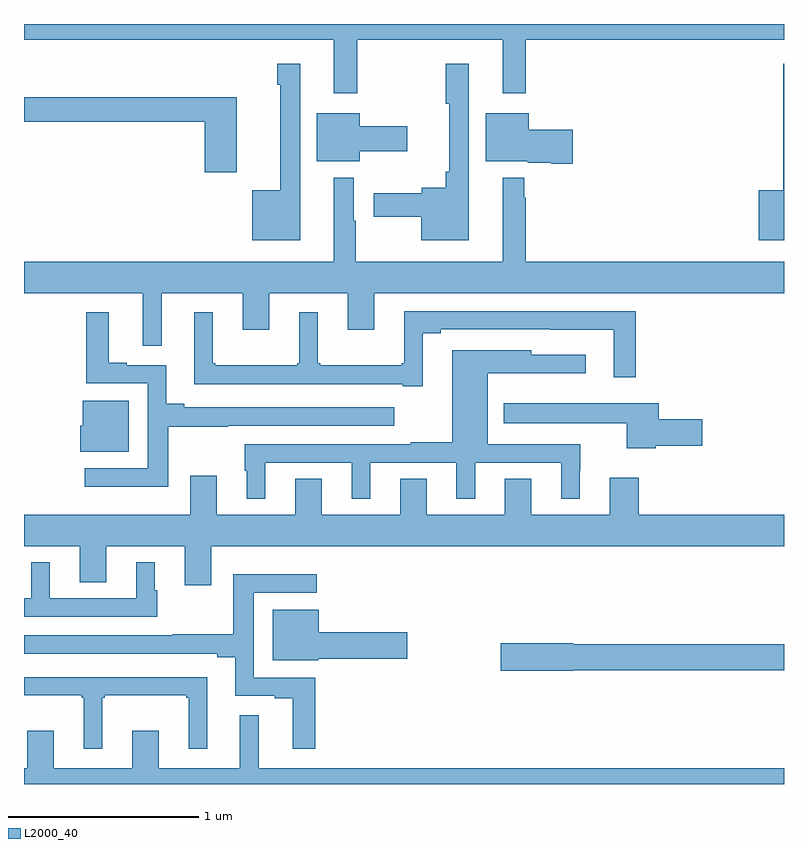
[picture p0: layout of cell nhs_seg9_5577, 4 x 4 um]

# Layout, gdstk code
import gdstk
lib = gdstk.Library(unit=1e-6, precision=1e-09)
def P(c, l, *ps):  # polygons
    for p in ps: c.add(gdstk.Polygon(p, *l))
L2000_40 = (2000, 40)

nhs_seg9_5577 = lib.new_cell('nhs_seg9_5577')
P(nhs_seg9_5577, L2000_40, [(436.753,1200.416),(437.519,1200.416),(437.519,1200.135),(437.641,1200.135),(437.641,1200.416),(439,1200.416),(439,1200.5),(435,1200.5),(435,1200.416),(436.631,1200.416),(436.631,1200.135),(436.753,1200.135)],
  [(439,1200.292),(438.996,1200.292),(438.996,1199.626),(438.866,1199.626),(438.866,1199.363),(439,1199.363)],
  [(437.341,1200.292),(437.22,1200.292),(437.22,1200.079),(437.237,1200.079),(437.237,1199.722),(437.22,1199.722),(437.22,1199.639),(437.094,1199.639),(437.094,1199.608),(436.842,1199.608),(436.842,1199.486),(437.09,1199.486),(437.09,1199.363),(437.341,1199.363)],
  [(436.453,1200.292),(436.332,1200.292),(436.332,1200.179),(436.349,1200.179),(436.349,1199.626),(436.202,1199.626),(436.202,1199.363),(436.453,1199.363)],
  [(436.12,1200.115),(435,1200.115),(435,1199.986),(435.95,1199.986),(435.95,1199.721),(436.12,1199.721)],
  [(436.768,1199.831),(437.017,1199.831),(437.017,1199.961),(436.768,1199.961),(436.768,1200.031),(436.541,1200.031),(436.541,1199.777),(436.768,1199.777)],
  [(437.887,1199.943),(437.656,1199.943),(437.656,1200.031),(437.429,1200.031),(437.429,1199.777),(437.652,1199.777),(437.652,1199.771),(437.774,1199.771),(437.774,1199.765),(437.887,1199.765)],
  [(435.724,1199.084),(436.151,1199.084),(436.151,1198.89),(436.291,1198.89),(436.291,1199.084),(436.703,1199.084),(436.703,1198.89),(436.843,1198.89),(436.843,1199.084),(439,1199.084),(439,1199.248),(437.641,1199.248),(437.641,1199.585),(437.633,1199.585),(437.633,1199.692),(437.519,1199.692),(437.519,1199.248),(436.745,1199.248),(436.745,1199.465),(436.735,1199.465),(436.735,1199.692),(436.631,1199.692),(436.631,1199.248),(435,1199.248),(435,1199.084),(435.626,1199.084),(435.626,1198.806),(435.724,1198.806)],
  [(437.098,1198.873),(437.194,1198.873),(437.194,1198.893),(437.77,1198.893),(437.77,1198.892),(438.104,1198.892),(438.104,1198.641),(438.221,1198.641),(438.221,1198.989),(437,1198.989),(437,1198.714),(436.989,1198.714),(436.989,1198.703),(436.558,1198.703),(436.558,1198.714),(436.546,1198.714),(436.546,1198.984),(436.448,1198.984),(436.448,1198.714),(436.437,1198.714),(436.437,1198.703),(436.006,1198.703),(436.006,1198.714),(435.994,1198.714),(435.994,1198.984),(435.896,1198.984),(435.896,1198.605),(436.994,1198.605),(436.994,1198.593),(437.098,1198.593)],
  [(435.76,1198.381),(436.076,1198.381),(436.076,1198.386),(436.948,1198.386),(436.948,1198.482),(435.844,1198.482),(435.844,1198.502),(435.748,1198.502),(435.748,1198.704),(435.541,1198.704),(435.541,1198.717),(435.445,1198.717),(435.445,1198.984),(435.327,1198.984),(435.327,1198.608),(435.651,1198.608),(435.651,1198.161),(435.321,1198.161),(435.321,1198.064),(435.76,1198.064)],
  [(436.27,1198.191),(436.724,1198.191),(436.724,1198.001),(436.822,1198.001),(436.822,1198.191),(437.276,1198.191),(437.276,1198.001),(437.374,1198.001),(437.374,1198.191),(437.828,1198.191),(437.828,1198.001),(437.926,1198.001),(437.926,1198.148),(437.928,1198.148),(437.928,1198.287),(437.44,1198.287),(437.44,1198.661),(437.956,1198.661),(437.956,1198.759),(437.67,1198.759),(437.67,1198.783),(437.255,1198.783),(437.255,1198.3),(437.035,1198.3),(437.035,1198.287),(436.161,1198.287),(436.161,1198.148),(436.172,1198.148),(436.172,1198.001),(436.27,1198.001)],
  [(435.55,1198.516),(435.308,1198.516),(435.308,1198.386),(435.296,1198.386),(435.296,1198.25),(435.55,1198.25)],
  [(438.324,1198.279),(438.571,1198.279),(438.571,1198.421),(438.341,1198.421),(438.341,1198.504),(437.525,1198.504),(437.525,1198.4),(438.173,1198.4),(438.173,1198.268),(438.324,1198.268)],
  [(435.985,1197.752),(439,1197.752),(439,1197.916),(438.236,1197.916),(438.236,1198.111),(438.083,1198.111),(438.083,1197.916),(437.671,1197.916),(437.671,1198.106),(437.531,1198.106),(437.531,1197.916),(437.119,1197.916),(437.119,1198.106),(436.979,1198.106),(436.979,1197.916),(436.567,1197.916),(436.567,1198.106),(436.427,1198.106),(436.427,1197.916),(436.015,1197.916),(436.015,1198.123),(435.875,1198.123),(435.875,1197.916),(435,1197.916),(435,1197.752),(435.293,1197.752),(435.293,1197.562),(435.433,1197.562),(435.433,1197.752),(435.845,1197.752),(435.845,1197.546),(435.985,1197.546)],
  [(435.7,1197.521),(435.688,1197.521),(435.688,1197.667),(435.59,1197.667),(435.59,1197.477),(435.136,1197.477),(435.136,1197.667),(435.038,1197.667),(435.038,1197.477),(435,1197.477),(435,1197.381),(435.7,1197.381)],
  [(436.534,1197.06),(436.209,1197.06),(436.209,1197.507),(436.54,1197.507),(436.54,1197.604),(436.101,1197.604),(436.101,1197.287),(435.784,1197.287),(435.784,1197.282),(435,1197.282),(435,1197.186),(436.016,1197.186),(436.016,1197.166),(436.112,1197.166),(436.112,1196.964),(436.319,1196.964),(436.319,1196.952),(436.415,1196.952),(436.415,1196.685),(436.534,1196.685)],
  [(436.548,1197.158),(437.017,1197.158),(437.017,1197.3),(436.552,1197.3),(436.552,1197.418),(436.31,1197.418),(436.31,1197.152),(436.548,1197.152)],
  [(437.892,1197.1),(439,1197.1),(439,1197.236),(437.892,1197.236),(437.892,1197.242),(437.508,1197.242),(437.508,1197.095),(437.892,1197.095)],
  [(435.412,1196.955),(435.424,1196.955),(435.424,1196.966),(435.855,1196.966),(435.855,1196.955),(435.866,1196.955),(435.866,1196.685),(435.964,1196.685),(435.964,1197.063),(435,1197.063),(435,1196.966),(435.303,1196.966),(435.303,1196.955),(435.314,1196.955),(435.314,1196.685),(435.412,1196.685)],
  [(439,1196.584),(436.235,1196.584),(436.235,1196.863),(436.136,1196.863),(436.136,1196.584),(435.709,1196.584),(435.709,1196.779),(435.569,1196.779),(435.569,1196.584),(435.157,1196.584),(435.157,1196.779),(435.017,1196.779),(435.017,1196.584),(435,1196.584),(435,1196.5),(439,1196.5)])

lib.write_gds('nhs_seg9_5577.gds')
